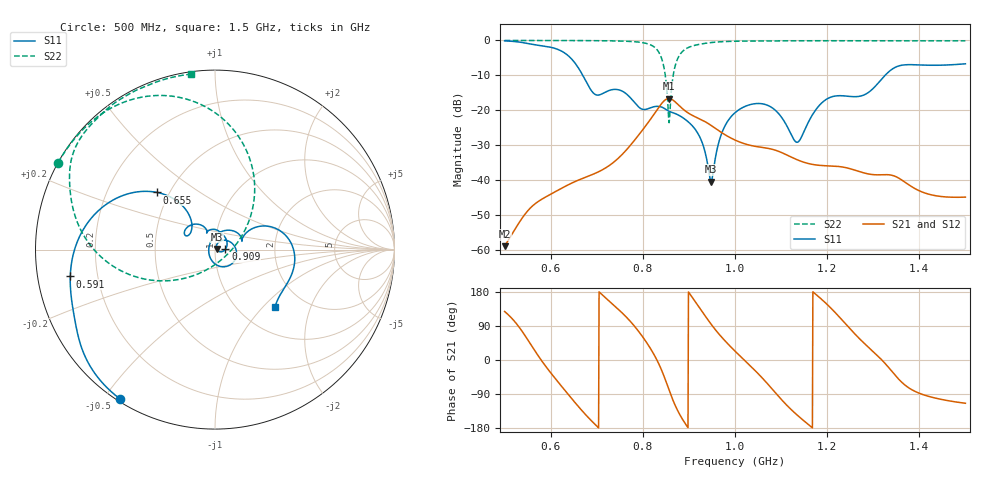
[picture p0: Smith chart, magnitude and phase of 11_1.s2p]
! TOUCHSTONE file generated by CST MICROWAVE STUDIO
! Date and time: Mon Oct 26 12:05:57 2020
! Project name: Scenario_1_Circular_Tissue_out_of_Line_v2.cst
! Parameters = {dy1=-173; L_HA=400; MT=2.54; Rad_Dielectric=30; Rad_Lower=7.3; Rad_Upper=30; a_HA=580; a_WG=246; b_HA=500; b_WG=121; c_HA=0; c_WG=187; d_feed=85; dx1=173; h_feed=15; h_lower=18; h_upper=40}
! Header version: 2018
! Port assignment regex: !\s*Touchstone port\s*([0-9]+)\s*=\s*(CST MWS port|CST DS port)\s*([0-9]+|Zmin|Zmax)\s*\(\"(.*)\"\)(\s*mode\s*([0-9]+))?.*
! Touchstone port assignment:
! Touchstone port 1 = CST MWS port 1 ("")
! Touchstone port 2 = CST MWS port 2 ("")
# GHz S DB R 50
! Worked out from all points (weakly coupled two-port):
!   1003 points, 500 MHz to 1.5 GHz, reference 50 ohm
!   highest |S21| = -16.62 dB at 856 MHz (marker M1); lowest = -58.9 dB at 500 MHz (marker M2)
!   lowest |S11| = -40.4 dB at 948 MHz (marker M3), VSWR 1.02, Z = 50.9 + j0.343 ohm
!   |S11| at or under -10 dB: 669.7 MHz to 1.326 GHz (656 MHz wide, 65.8 % of centre)
!   |S22| runs from -23.6 to 0.0 dB; largest |S21 - S12| = 2.8e-05
!   S11 on the Smith chart (normalised r, x): 500 MHz: 0.01, -0.55; 591 MHz: 0.10, -0.09; 655 MHz: 0.43, +0.34; 909 MHz: 1.12, +0.00; 1.5 GHz: 1.43, -1.17
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0.5  -0.13 -122.6  -58.89 128.0  -58.89 128.0  -0.01 151.1
0.591  -1.72 -169.5  -44.67 -19.5  -44.66 -19.5  -0.02 144.8
0.655  -6.88 135.4  -40.27 -115.5  -40.27 -115.5  -0.04 139.5
0.667  -9.37 127.8  -39.61 -132.4  -39.61 -132.4  -0.04 138.3
0.697  -15.49 141.7  -38.01 -170.9  -38.01 -170.9  -0.07 135.2
0.78  -17.47 114.6  -28.89 91.9  -28.89 91.9  -0.35 120.3
0.834  -18.87 96.4  -19.27 -8.6  -19.27 -8.6  -3.24 82.5
0.845  -19.33 82.1  -17.43 -39.8  -17.43 -39.8  -7.22 59.6
0.856  -20.22 69.8  -16.62 -76.1  -16.62 -76.1  -22.31 -17.0
0.875  -21.21 47.4  -18.17 -132.2  -18.17 -132.2  -5.39 -167.4
0.909  -24.68 2.1  -21.56 162.2  -21.56 162.2  -1.53 162.0
0.929  -29.33 -21.3  -22.82 127.3  -22.82 127.3  -0.96 154.8
0.948  -40.38 20.6  -24.31 94.7  -24.31 94.7  -0.61 149.9
0.971  -26.62 63.3  -26.38 60.4  -26.39 60.4  -0.36 145.0
1  -20.69 29.2  -28.51 23.5  -28.51 23.5  -0.23 140.2
1.073  -18.70 -52.0  -30.92 -65.9  -30.92 -65.9  -0.15 132.0
1.134  -29.15 178.6  -34.10 -144.3  -34.10 -144.3  -0.10 126.8
1.167  -21.52 84.8  -35.46 -178.1  -35.46 -178.1  -0.09 124.1
1.206  -16.32 39.7  -35.91 139.5  -35.91 139.5  -0.09 121.1
1.285  -15.27 24.4  -38.09 38.8  -38.09 38.8  -0.09 115.1
1.334  -8.94 19.4  -38.45 -20.6  -38.47 -20.5  -0.09 111.5
1.5  -6.69 -44.1  -44.85 -114.2  -44.85 -114.2  -0.12 97.8
